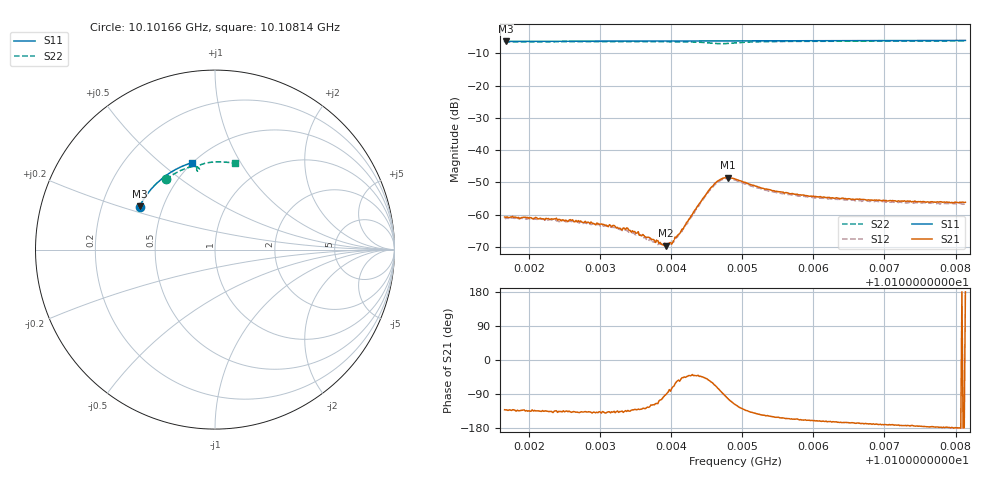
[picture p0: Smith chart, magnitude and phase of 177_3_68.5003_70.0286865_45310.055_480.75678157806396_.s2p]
#  HZ  S  RI  R  50.00
! Rohde & Schwarz Vector Network Analyzer
! Rohde-Schwarz,ZNB20-2Port,1311601062101988,3.16
! Created: UTC 3/20/2024, 4:56:33 PM
! freq[Hz]  re:S11  im:S11  re:S21  im:S21  re:S12  im:S12  re:S22  im:S22
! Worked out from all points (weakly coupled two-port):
!   401 points, 10.10166 GHz to 10.10814 GHz, reference 50 ohm
!   highest |S21| = -48.51 dB at 10.1048 GHz (marker M1); lowest = -69.6 dB at 10.10393 GHz (marker M2)
!   lowest |S11| = -6.3 dB at 10.10168 GHz (marker M3), VSWR 2.88, Z = 18.5 + j11.6 ohm
!   |S11| at or under -10 dB: nowhere
!   |S22| runs from -7.0 to -6.1 dB; largest |S21 - S12| = 0.00038
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1.0101659e10  -0.4205 0.2401  -0.000606 -0.000692  -0.000572 -0.000696  -0.2727 0.3908
1.0101676e10  -0.4198 0.241  -0.000608 -0.000679  -0.000515 -0.000697  -0.2718 0.3914
1.0102356e10  -0.3995 0.2771  -0.000613 -0.000608  -0.00055 -0.000602  -0.2354 0.4168
1.0102745e10  -0.3866 0.2969  -0.000559 -0.000528  -0.000522 -0.000558  -0.2132 0.4296
1.0103279e10  -0.3672 0.323  -0.000445 -0.000428  -0.000404 -0.000427  -0.1811 0.4453
1.010336e10  -0.3643 0.3269  -0.000406 -0.000428  -0.000383 -0.000438  -0.176 0.4476
1.0103571e10  -0.3559 0.3365  -0.000306 -0.000366  -0.000291 -0.000391  -0.1623 0.4529
1.0103652e10  -0.3528 0.3404  -0.000266 -0.000359  -0.000248 -0.000333  -0.1568 0.4547
1.010383e10  -0.3454 0.3485  -0.00011 -0.000342  -9.41e-05 -0.000345  -0.1445 0.4585
1.0103927e10  -0.3414 0.3527  -8.04e-06 -0.000332  -1.25e-07 -0.00034  -0.1374 0.4602
1.0103992e10  -0.3387 0.3556  4.94e-05 -0.000367  0.000118 -0.000333  -0.1324 0.4612
1.010404e10  -0.3367 0.3577  0.000147 -0.000381  0.000189 -0.000329  -0.1287 0.462
1.0104154e10  -0.3318 0.3627  0.000409 -0.000436  0.000378 -0.000398  -0.1194 0.4629
1.0104445e10  -0.3191 0.3748  0.00126 -0.00125  0.0013 -0.00107  -0.0937 0.457
1.0104591e10  -0.3124 0.3807  0.00133 -0.00248  0.00146 -0.00229  -0.0864 0.4448
1.0104688e10  -0.3081 0.3846  0.000569 -0.00346  0.000848 -0.00325  -0.0905 0.4372
1.0104802e10  -0.3029 0.3889  -0.000809 -0.00366  -0.000477 -0.00356  -0.0998 0.4394
1.0104899e10  -0.2986 0.3927  -0.00164 -0.00317  -0.00132 -0.00317  -0.1023 0.4482
1.0105401e10  -0.2746 0.4114  -0.00206 -0.00125  -0.00186 -0.00137  -0.0712 0.4761
1.0105984e10  -0.2453 0.4312  -0.00179 -0.000677  -0.00168 -0.000773  -0.0302 0.4855
1.0107069e10  -0.1873 0.462  -0.00163 -0.000278  -0.00152 -0.000381  0.0416 0.4884
1.0108138e10  -0.1267 0.4844  -0.00156 8.27e-06  -0.00148 -0.000156  0.1101 0.4802
